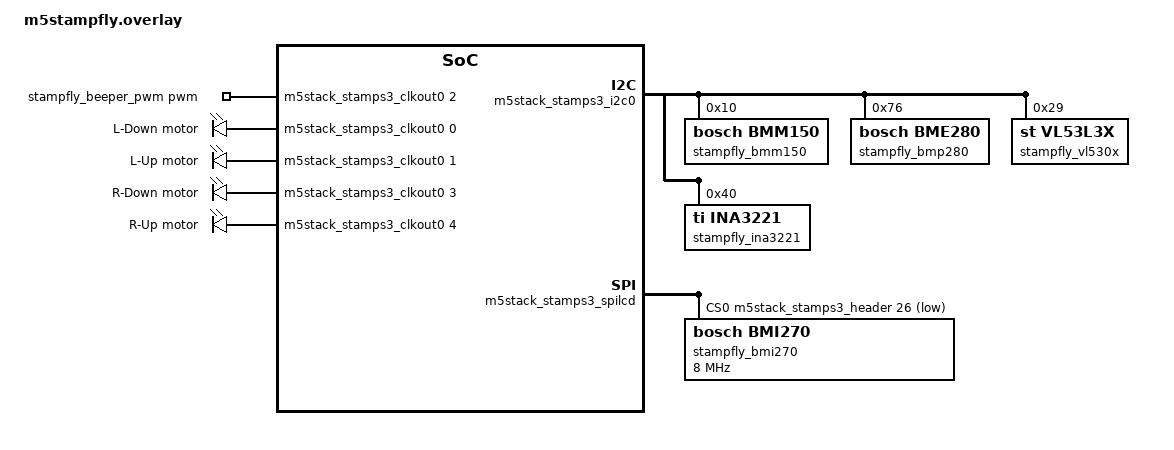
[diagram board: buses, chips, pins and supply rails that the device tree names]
/*
 * Copyright (c) 2024 The Linux Foundation.
 *
 * SPDX-License-Identifier: Apache-2.0
 */
 #include <zephyr/dt-bindings/pwm/pwm.h>
 #include <zephyr/dt-bindings/display/panel.h>
 #include <zephyr/dt-bindings/input/input-event-codes.h>

 / {
	 chosen {
		//  zephyr,display = &gc9x01x_lcd;
		//  zephyr,display-backlight = &backlight_pwm;
		//  zephyr,rtc = &pfc8563_rtc;
	 };

	 aliases {
		 accel0 = &stampfly_bmi270;
	 };

	stampfly_beeper_pwm: beeper_pwm {
		 status = "okay";
		 compatible = "pwm-clock";
		 #clock-cells = <1>;
		 pwms = <&m5stack_stamps3_clkout0 2 PWM_USEC(1500) PWM_POLARITY_NORMAL>;
	 };

	pwmleds {
		compatible = "pwm-leds";

		stampfly_motor_l_down: motor_l_down {
			pwms = <&m5stack_stamps3_clkout0 0 PWM_MSEC(20) PWM_POLARITY_NORMAL>;
			label = "L-Down motor";
		};

		stampfly_motor_l_up: motor_l_up {
			pwms = <&m5stack_stamps3_clkout0 1 PWM_MSEC(20) PWM_POLARITY_NORMAL>;
			label = "L-Up motor";
		};

		stampfly_motor_r_down: motor_r_down {
			pwms = <&m5stack_stamps3_clkout0 3 PWM_MSEC(20) PWM_POLARITY_NORMAL>;
			label = "R-Down motor";
		};

		stampfly_motor_r_up: motor_r_up {
			pwms = <&m5stack_stamps3_clkout0 4 PWM_MSEC(20) PWM_POLARITY_NORMAL>;
			label = "R-Up motor";
		};
	};


	//  grove_header_red: grove_header_red {
	// 	 compatible = "grove-header";
	// 	 #gpio-cells = <2>;
	// 	 gpio-map-mask = <0xffffffff 0xffffffc0>;
	// 	 gpio-map-pass-thru = <0 0x3f>;
	// 	 gpio-map = <0 0 &m5stack_stamps3_header 2 0>,
	// 		    <1 0 &m5stack_stamps3_header 3 0>;
	//  };

	//  grove_header_black: grove_header_black {
	// 	 compatible = "grove-header";
	// 	 #gpio-cells = <2>;
	// 	 gpio-map-mask = <0xffffffff 0xffffffc0>;
	// 	 gpio-map-pass-thru = <0 0x3f>;
	// 	 gpio-map = <0 0 &m5stack_stamps3_header 0 0>,
	// 		    <1 0 &m5stack_stamps3_header 1 0>;
	//  };
 };

 &m5stack_stamps3_clkout0 {
	 status = "okay";

 };

 &m5stack_stamps3_i2c0 {
	 status = "okay";

	stampfly_bmm150: bmm150@10 {
		compatible = "bosch,bmm150";
		reg = <0x10>;
		status = "okay";
	};

	stampfly_bmp280: bmp280@76 {
		compatible = "bosch,bme280"; /* bme280 is able to handle bmp280 */
		reg = <0x76>;
		status = "okay";
	};

	stampfly_vl530x: vl53l3cxv0dh@29 {
		compatible = "st,vl53l3x";
		reg = <0x29>;
		status = "okay";
	};

	stampfly_ina3221: ina3221airgvr@40 {
		compatible = "ti,ina3221";
		reg = <0x40>;
		enable-channel = <0 1 0>;
		shunt-resistors = <10 10 10>;
		status = "okay";
	};

 };

 &m5stack_stamps3_spilcd {
	status = "okay";
	dma-enabled;
	cs-gpios = <&m5stack_stamps3_header 26 GPIO_ACTIVE_LOW>,
		   <&m5stack_stamps3_header 12 GPIO_ACTIVE_LOW>;

	stampfly_bmi270: bmi270@0 {
		compatible = "bosch,bmi270";
		spi-max-frequency = <8000000>;
		reg = <0>;
		status = "okay";
	};

	/* pixart  */

 };

//  groveA_i2c: &m5stack_stamps3_i2c0 {};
